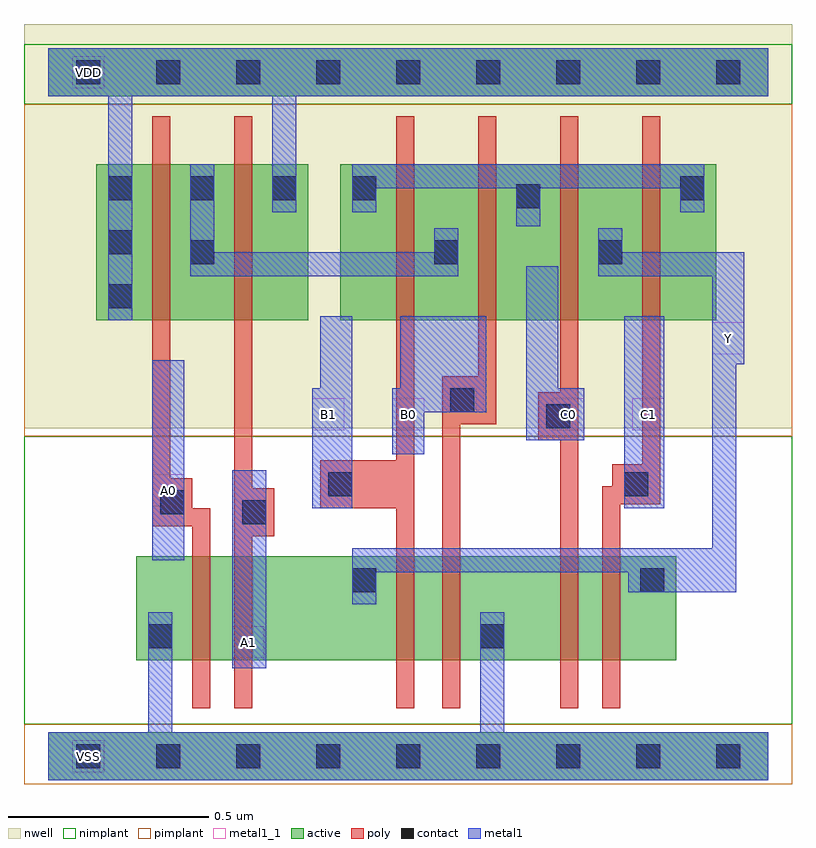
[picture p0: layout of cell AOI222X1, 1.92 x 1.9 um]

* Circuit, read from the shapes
.subckt AOI222X1 A0 A1 B0 B1 C0 C1 VDD VSS Y
M1 n1 A0 VSS VSS nfet w=0.26u l=0.045u
M2 Y A1 n1 VSS nfet w=0.26u l=0.045u
M3 n2 B1 Y VSS nfet w=0.26u l=0.045u
M4 VSS B0 n2 VSS nfet w=0.26u l=0.045u
M5 n3 C0 VSS VSS nfet w=0.26u l=0.045u
M6 Y C1 n3 VSS nfet w=0.26u l=0.045u
M7 n4 A0 VDD VDD pfet w=0.39u l=0.045u
M8 VDD A1 n4 VDD pfet w=0.39u l=0.045u
M9 n4 B1 n5 VDD pfet w=0.39u l=0.045u
M10 n5 B0 n4 VDD pfet w=0.39u l=0.045u
M11 Y C0 n5 VDD pfet w=0.39u l=0.045u
M12 n5 C1 Y VDD pfet w=0.39u l=0.045u
.ends

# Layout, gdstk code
import gdstk
lib = gdstk.Library(unit=1e-6, precision=5e-10)
def R(c, l, rs):  # rectangles x0, y0, x1, y1
    for r in rs: c.add(gdstk.rectangle(r[:2], r[2:], *l))
def A(c, l, x, y, w, h, nx, ny, dx, dy):  # array of equal rectangles
    R(c, l, [(x+i*dx, y+j*dy, x+i*dx+w, y+j*dy+h) for i in range(nx) for j in range(ny)])
def P(c, l, *ps):  # polygons
    for p in ps: c.add(gdstk.Polygon(p, *l))
active = (1, 0)
nwell = (2, 0)
poly = (3, 0)
nimplant = (4, 0)
pimplant = (5, 0)
contact = (6, 0)
metal1 = (7, 0)
metal1_1 = (7, 1)

aoi222x1 = lib.new_cell('AOI222X1')
R(aoi222x1, active, [(0,-0.06,1.8,0.06), (0.22,0.24,1.57,0.5), (0.12,1.09,0.65,1.48), (0.73,1.09,1.67,1.48), (0,1.65,1.8,1.77)])
R(aoi222x1, nwell, [(-0.06,0.82,1.86,1.83)])
P(aoi222x1, poly, [(0.26,1.6),(0.305,1.6),(0.305,0.695),(0.36,0.695),(0.36,0.62),(0.405,0.62),(0.405,0.12),(0.36,0.12),(0.36,0.575),(0.26,0.575)],
  [(0.465,1.6),(0.51,1.6),(0.51,0.67),(0.565,0.67),(0.565,0.55),(0.51,0.55),(0.51,0.12),(0.465,0.12)],
  [(0.87,1.6),(0.915,1.6),(0.915,0.12),(0.87,0.12),(0.87,0.62),(0.68,0.62),(0.68,0.74),(0.87,0.74)],
  [(1.075,1.6),(1.12,1.6),(1.12,0.83),(1.03,0.83),(1.03,0.12),(0.985,0.12),(0.985,0.95),(1.075,0.95)],
  [(1.28,1.6),(1.325,1.6),(1.325,0.12),(1.28,0.12),(1.28,0.79),(1.225,0.79),(1.225,0.91),(1.28,0.91)],
  [(1.485,1.6),(1.53,1.6),(1.53,0.63),(1.43,0.63),(1.43,0.12),(1.385,0.12),(1.385,0.675),(1.41,0.675),(1.41,0.73),(1.485,0.73)])
R(aoi222x1, nimplant, [(-0.06,0.08,1.86,0.8), (-0.06,1.63,1.86,1.78)])
R(aoi222x1, pimplant, [(-0.06,-0.07,1.86,0.08), (-0.06,0.8,1.86,1.63)])
A(aoi222x1, contact, 0.07, -0.03, 0.06, 0.06, 9, 2, 0.2, 1.71)
A(aoi222x1, contact, 0.15, 1.39, 0.06, 0.06, 3, 1, 0.205, 0)
R(aoi222x1, contact, [(0.25,0.27,0.31,0.33), (1.08,0.27,1.14,0.33), (0.76,0.41,0.82,0.47), (1.48,0.41,1.54,0.47), (0.485,0.58,0.545,0.64), (0.28,0.605,0.34,0.665), (0.7,0.65,0.76,0.71), (1.44,0.65,1.5,0.71), (1.245,0.82,1.305,0.88), (1.005,0.86,1.065,0.92), (0.15,1.12,0.21,1.18), (0.355,1.23,0.415,1.29), (0.965,1.23,1.025,1.29), (1.375,1.23,1.435,1.29), (0.15,1.255,0.21,1.315), (1.17,1.37,1.23,1.43), (0.76,1.39,0.82,1.45), (1.58,1.39,1.64,1.45)])
R(aoi222x1, metal1, [(0.46,0.22,0.545,0.715), (0.26,0.49,0.34,0.99), (1.44,0.62,1.54,1.1)])
P(aoi222x1, metal1, [(0,1.77),(1.8,1.77),(1.8,1.65),(0.62,1.65),(0.62,1.36),(0.56,1.36),(0.56,1.65),(0.21,1.65),(0.21,1.09),(0.15,1.09),(0.15,1.65),(0,1.65)],
  [(0.355,1.48),(0.415,1.48),(0.415,1.26),(0.965,1.26),(0.965,1.32),(1.025,1.32),(1.025,1.2),(0.355,1.2)],
  [(0.76,1.48),(1.64,1.48),(1.64,1.36),(1.58,1.36),(1.58,1.42),(1.23,1.42),(1.23,1.325),(1.17,1.325),(1.17,1.42),(0.82,1.42),(0.82,1.36),(0.76,1.36)],
  [(1.375,1.32),(1.435,1.32),(1.435,1.26),(1.74,1.26),(1.74,0.98),(1.72,0.98),(1.72,0.41),(1.45,0.41),(1.45,0.46),(0.82,0.46),(0.82,0.38),(0.76,0.38),(0.76,0.52),(1.66,0.52),(1.66,1.2),(1.375,1.2)],
  [(0.68,1.1),(0.76,1.1),(0.76,0.62),(0.66,0.62),(0.66,0.92),(0.68,0.92)],
  [(1.195,1.225),(1.275,1.225),(1.275,0.92),(1.34,0.92),(1.34,0.79),(1.195,0.79)],
  [(0.88,1.1),(1.095,1.1),(1.095,0.86),(0.94,0.86),(0.94,0.755),(0.86,0.755),(0.86,0.92),(0.88,0.92)],
  [(0.25,0.36),(0.31,0.36),(0.31,0.06),(1.08,0.06),(1.08,0.36),(1.14,0.36),(1.14,0.06),(1.8,0.06),(1.8,-0.06),(0,-0.06),(0,0.06),(0.25,0.06)])
R(aoi222x1, metal1_1, [(0.06,-0.04,0.14,0.04), (0.46,0.245,0.54,0.325), (0.26,0.625,0.34,0.705), (0.66,0.815,0.74,0.895), (0.86,0.815,0.94,0.895), (1.26,0.815,1.34,0.895), (1.46,0.815,1.54,0.895), (1.66,1.005,1.74,1.085), (0.06,1.67,0.14,1.75)])
aoi222x1.add(gdstk.Label('Y', (1.7,1.045), layer=7, texttype=1))
aoi222x1.add(gdstk.Label('B1', (0.7,0.855), layer=7, texttype=1))
aoi222x1.add(gdstk.Label('C1', (1.5,0.855), layer=7, texttype=1))
aoi222x1.add(gdstk.Label('A0', (0.3,0.665), layer=7, texttype=1))
aoi222x1.add(gdstk.Label('B0', (0.9,0.855), layer=7, texttype=1))
aoi222x1.add(gdstk.Label('C0', (1.3,0.855), layer=7, texttype=1))
aoi222x1.add(gdstk.Label('A1', (0.5,0.285), layer=7, texttype=1))
aoi222x1.add(gdstk.Label('VDD', (0.1,1.71), layer=7, texttype=1))
aoi222x1.add(gdstk.Label('VSS', (0.1,0), layer=7, texttype=1))
aoi222x1.add(gdstk.Label('AOI222X1', (0,0), layer=63, texttype=0))

lib.write_gds('AOI222X1.gds')
